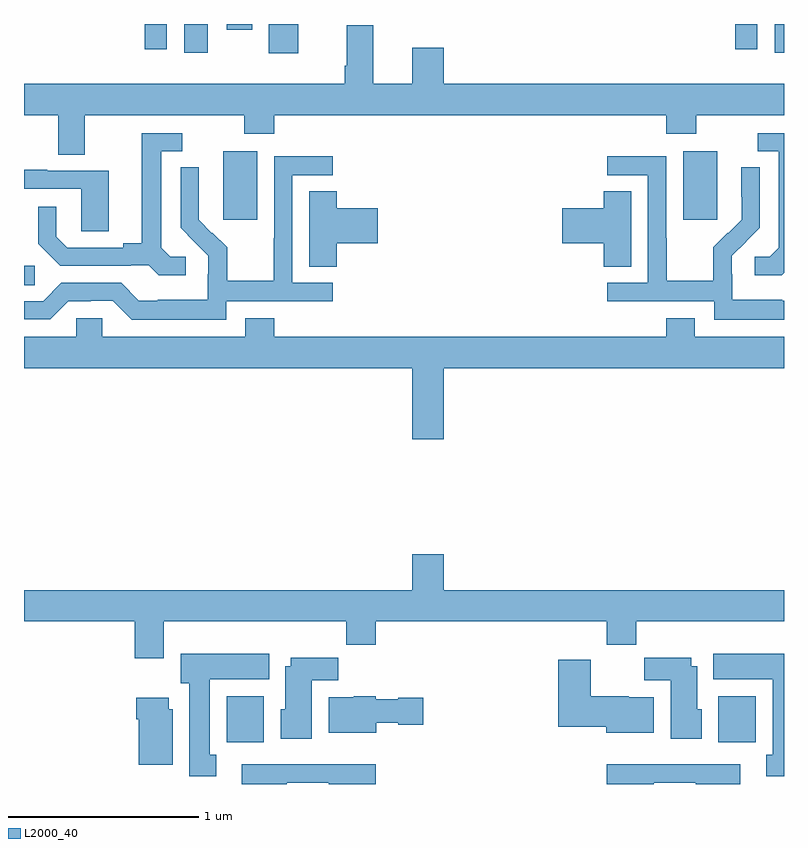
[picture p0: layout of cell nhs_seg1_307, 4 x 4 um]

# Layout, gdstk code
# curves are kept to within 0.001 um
import gdstk
lib = gdstk.Library(unit=1e-6, precision=1e-09)
def R(c, l, rs):  # rectangles x0, y0, x1, y1
    for r in rs: c.add(gdstk.rectangle(r[:2], r[2:], *l))
def P(c, l, *ps):  # polygons
    for p in ps: c.add(gdstk.Polygon(p, *l))
L2000_40 = (2000, 40)

nhs_seg1_307 = lib.new_cell('nhs_seg1_307')
R(nhs_seg1_307, L2000_40, [(128.066,560.42,128.263,560.662), (130.655,560.42,130.852,560.662), (127,562.825,127.057,562.926), (128.048,563.169,128.227,563.53), (130.469,563.169,130.648,563.53), (128.288,564.045,128.443,564.199), (127.844,564.048,127.966,564.199), (130.952,564.048,131,564.199), (127.636,564.066,127.752,564.199), (130.744,564.066,130.86,564.199), (128.066,564.168,128.2,564.199)])
P(nhs_seg1_307, L2000_40, [(127.321,563.72),(128.158,563.72),(128.158,563.621),(128.318,563.621),(128.318,563.72),(130.379,563.72),(130.379,563.621),(130.539,563.621),(130.539,563.72),(131,563.72),(131,563.884),(129.208,563.884),(129.208,564.073),(129.044,564.073),(129.044,563.884),(128.839,563.884),(128.839,564.193),(128.699,564.193),(128.699,563.98),(128.687,563.98),(128.687,563.884),(127,563.884),(127,563.72),(127.181,563.72),(127.181,563.512),(127.321,563.512)],
  [(131,562.889),(131,563.625),(130.863,563.625),(130.863,563.529),(130.973,563.529),(130.973,563.021),(130.926,562.974),(130.845,562.974),(130.845,562.877),(130.988,562.877)],
  [(127.852,562.974),(127.77,562.974),(127.723,563.021),(127.723,563.529),(127.834,563.529),(127.834,563.625),(127.619,563.625),(127.619,563.045),(127.523,563.045),(127.523,563.022),(127.228,563.022),(127.171,563.079),(127.171,563.236),(127.074,563.236),(127.074,563.042),(127.19,562.926),(127.562,562.926),(127.562,562.929),(127.656,562.929),(127.708,562.877),(127.852,562.877)],
  [(128.064,562.74),(128.626,562.74),(128.626,562.836),(128.412,562.836),(128.412,563.403),(128.626,563.403),(128.626,563.502),(128.316,563.502),(128.316,563.072),(128.314,563.072),(128.314,562.849),(128.069,562.849),(128.069,563.023),(127.992,563.1),(127.989,563.097),(127.919,563.168),(127.92,563.444),(127.824,563.444),(127.824,563.126),(127.97,562.978),(127.97,562.881),(127.968,562.881),(127.968,562.747),(127.705,562.747),(127.705,562.743),(127.605,562.743),(127.512,562.836),(127.197,562.836),(127.101,562.74),(127,562.74),(127,562.644),(127.137,562.644),(127.233,562.74),(127.352,562.74),(127.352,562.743),(127.467,562.743),(127.567,562.643),(128.064,562.643)],
  [(131,562.743),(130.991,562.743),(130.991,562.747),(130.728,562.747),(130.728,562.881),(130.726,562.881),(130.726,562.978),(130.872,563.126),(130.872,563.444),(130.776,563.444),(130.776,563.29),(130.778,563.29),(130.778,563.168),(130.707,563.097),(130.704,563.1),(130.627,563.023),(130.627,562.849),(130.383,562.849),(130.383,563.072),(130.38,563.072),(130.38,563.502),(130.071,563.502),(130.071,563.403),(130.284,563.403),(130.284,562.836),(130.071,562.836),(130.071,562.74),(130.632,562.74),(130.632,562.643),(131,562.643)],
  [(127.447,563.427),(127.123,563.427),(127.123,563.431),(127,563.431),(127,563.331),(127.302,563.331),(127.302,563.107),(127.447,563.107)],
  [(130.195,563.318),(130.052,563.318),(130.052,563.228),(129.834,563.228),(129.834,563.045),(130.052,563.045),(130.052,562.921),(130.195,562.921)],
  [(128.645,563.045),(128.863,563.045),(128.863,563.228),(128.645,563.228),(128.645,563.318),(128.501,563.318),(128.501,562.921),(128.645,562.921)],
  [(129.208,562.388),(131,562.388),(131,562.552),(130.531,562.552),(130.531,562.651),(130.379,562.651),(130.379,562.552),(128.318,562.552),(128.318,562.651),(128.165,562.651),(128.165,562.552),(127.413,562.552),(127.413,562.65),(127.275,562.65),(127.275,562.552),(127,562.552),(127,562.388),(129.044,562.388),(129.044,562.014),(129.208,562.014)],
  [(127.735,561.056),(128.695,561.056),(128.695,560.932),(128.852,560.932),(128.852,561.056),(130.067,561.056),(130.067,560.932),(130.223,560.932),(130.223,561.056),(131,561.056),(131,561.22),(129.208,561.22),(129.208,561.409),(129.044,561.409),(129.044,561.22),(127,561.22),(127,561.056),(127.583,561.056),(127.583,560.862),(127.735,560.862)],
  [(131,560.884),(130.628,560.884),(130.628,560.75),(130.94,560.75),(130.94,560.354),(130.907,560.354),(130.907,560.241),(131,560.241)],
  [(128.011,560.354),(127.978,560.354),(127.978,560.75),(128.29,560.75),(128.29,560.884),(127.826,560.884),(127.826,560.73),(127.871,560.73),(127.871,560.241),(128.011,560.241)],
  [(130.567,560.592),(130.543,560.592),(130.543,560.818),(130.513,560.818),(130.513,560.863),(130.264,560.863),(130.264,560.744),(130.403,560.744),(130.403,560.438),(130.567,560.438)],
  [(128.515,560.744),(128.654,560.744),(128.654,560.863),(128.405,560.863),(128.405,560.818),(128.375,560.818),(128.375,560.592),(128.351,560.592),(128.351,560.438),(128.515,560.438)],
  [(130.315,560.656),(130.182,560.656),(130.182,560.662),(129.982,560.662),(129.982,560.854),(129.812,560.854),(129.812,560.501),(130.064,560.501),(130.064,560.468),(130.315,560.468)],
  [(128.854,560.522),(128.97,560.522),(128.97,560.51),(129.102,560.51),(129.102,560.652),(128.97,560.652),(128.97,560.644),(128.85,560.644),(128.85,560.662),(128.736,560.662),(128.736,560.656),(128.603,560.656),(128.603,560.468),(128.854,560.468)],
  [(127.783,560.592),(127.762,560.592),(127.762,560.653),(127.592,560.653),(127.592,560.54),(127.604,560.54),(127.604,560.3),(127.783,560.3)],
  [(130.315,560.205),(130.535,560.205),(130.535,560.199),(130.771,560.199),(130.771,560.302),(130.067,560.302),(130.067,560.199),(130.315,560.199)],
  [(128.383,560.205),(128.603,560.205),(128.603,560.199),(128.852,560.199),(128.852,560.302),(128.147,560.302),(128.147,560.199),(128.383,560.199)])

lib.write_gds('nhs_seg1_307.gds')
